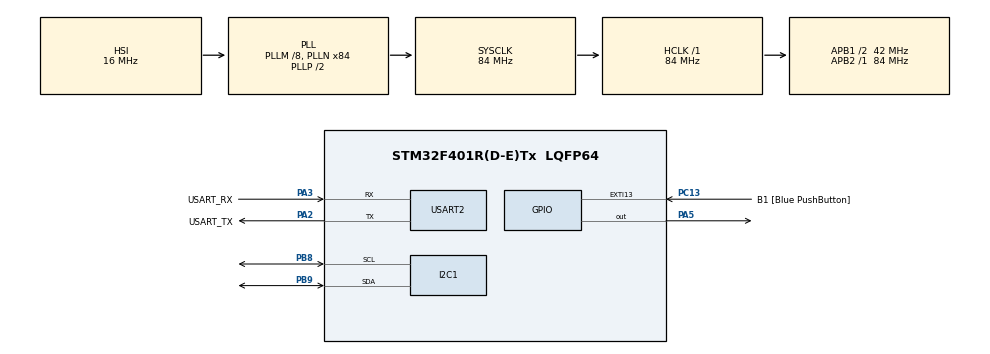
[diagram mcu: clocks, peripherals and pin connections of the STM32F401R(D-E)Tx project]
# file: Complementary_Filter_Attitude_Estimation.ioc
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Mcu.Family=STM32F4
Mcu.Name=STM32F401R(D-E)Tx
Mcu.Package=LQFP64
NVIC.PriorityGroup=NVIC_PRIORITYGROUP_0
PA13.GPIO_Label=TMS
PA13.Mode=Serial_Wire
PA13.Signal=SYS_JTMS-SWDIO
PA14.GPIO_Label=TCK
PA14.Mode=Serial_Wire
PA14.Signal=SYS_JTCK-SWCLK
PA2.GPIO_Label=USART_TX
PA2.GPIO_Mode=GPIO_MODE_AF_PP
PA2.GPIO_PuPd=GPIO_NOPULL
PA2.GPIO_Speed=GPIO_SPEED_FREQ_LOW
PA2.Mode=Asynchronous
PA2.Signal=USART2_TX
PA3.GPIO_Label=USART_RX
PA3.GPIO_Mode=GPIO_MODE_AF_PP
PA3.GPIO_PuPd=GPIO_NOPULL
PA3.GPIO_Speed=GPIO_SPEED_FREQ_LOW
PA3.Mode=Asynchronous
PA3.Signal=USART2_RX
PA5.Signal=GPIO_Output
PB3.GPIO_Label=SWO
PB3.Signal=SYS_JTDO-SWO
PB8.Mode=I2C
PB8.Signal=I2C1_SCL
PB9.Mode=I2C
PB9.Signal=I2C1_SDA
PC13-ANTI_TAMP.GPIO_Label=B1 [Blue PushButton]
PC13-ANTI_TAMP.GPIO_ModeDefaultEXTI=GPIO_MODE_IT_FALLING
PC13-ANTI_TAMP.GPIO_PuPd=GPIO_NOPULL
PC13-ANTI_TAMP.Signal=GPXTI13
PC14-OSC32_IN.Mode=LSE-External-Oscillator
PC14-OSC32_IN.Signal=RCC_OSC32_IN
PC15-OSC32_OUT.Mode=LSE-External-Oscillator
PC15-OSC32_OUT.Signal=RCC_OSC32_OUT
PH0\ -\ OSC_IN.Mode=HSE-External-Clock-Source
PH0\ -\ OSC_IN.Signal=RCC_OSC_IN
PH1\ -\ OSC_OUT.Mode=HSE-External-Clock-Source
PH1\ -\ OSC_OUT.Signal=RCC_OSC_OUT
ProjectManager.HeapSize=0x200
ProjectManager.StackSize=0x400
ProjectManager.TargetToolchain=STM32CubeIDE
RCC.48MHZClocksFreq_Value=24000000
RCC.AHBFreq_Value=84000000
RCC.APB1CLKDivider=RCC_HCLK_DIV2
RCC.APB1Freq_Value=42000000
RCC.APB1TimFreq_Value=84000000
RCC.APB2Freq_Value=84000000
RCC.APB2TimFreq_Value=84000000
RCC.CortexFreq_Value=84000000
RCC.HCLKFreq_Value=84000000
RCC.HSE_VALUE=8000000
RCC.HSI_VALUE=16000000
RCC.PLLM=8
RCC.PLLN=84
RCC.PLLQ=7
RCC.SYSCLKFreq_VALUE=84000000
RCC.SYSCLKSource=RCC_SYSCLKSOURCE_PLLCLK
RCC.VCOOutputFreq_Value=168000000
TIM3.Channel-Output\ Compare1\ No\ Output=TIM_CHANNEL_1
TIM3.Period=1000-1
TIM3.Prescaler=840-1
USART2.VirtualMode=VM_ASYNC
VP_TIM3_VS_no_output1.Mode=Output Compare1 No Output
board=NUCLEO-F401RE

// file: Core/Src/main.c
/* USER CODE BEGIN Header */
/**
  ******************************************************************************
  * @file           : main.c
  * @brief          : Main program body
  ******************************************************************************
  * @attention
  *
  * Copyright (c) 2024 STMicroelectronics.
  * All rights reserved.
  *
  * This software is licensed under terms that can be found in the LICENSE file
  * in the root directory of this software component.
  * If no LICENSE file comes with this software, it is provided AS-IS.
  *
  ******************************************************************************
  */
/* USER CODE END Header */
#include "main.h"

/* USER CODE BEGIN Includes */
#include "RCFilter.h"
#include "mpu6050.h"
#include <string.h>
#include <stdio.h>
#include <math.h>
/* USER CODE END Includes */

/* USER CODE BEGIN PD */
#define SAMPLE_TIME 100
#define RAD_TO_DEG 57.2957795131f
#define ACCEL_G 9.81
/* USER CODE END PD */

I2C_HandleTypeDef hi2c1;

TIM_HandleTypeDef htim3;

UART_HandleTypeDef huart2;

/* USER CODE BEGIN PV */
RCFilter lpFilter;
static int16_t accel_val_xOff = 0;
static int16_t accel_val_yOff = 0;
static int16_t accel_val_zOff = 0;
static int16_t gyro_val_xOff = 0;
static int16_t gyro_val_yOff = 0;
static int16_t gyro_val_zOff = 0;

/* USER CODE END PV */

void SystemClock_Config(void);
static void MX_GPIO_Init(void);
static void MX_USART2_UART_Init(void);
static void MX_TIM3_Init(void);
static void MX_I2C1_Init(void);

int main(void)
{

  /* MCU Configuration--------------------------------------------------------*/

  /* Reset of all peripherals, Initializes the Flash interface and the Systick. */
  HAL_Init();

  /* USER CODE BEGIN Init */
  //RCFilter_Init(&lpFilter, 2.0f, 0.01f);

  /* USER CODE END Init */

  /* Configure the system clock */
  SystemClock_Config();

  /* Initialize all configured peripherals */
  MX_GPIO_Init();
  MX_USART2_UART_Init();
  MX_TIM3_Init();
  MX_I2C1_Init();
  /* USER CODE BEGIN 2 */
  char mlx_buff[100];
  uint8_t mpu_buff[50];
  uint8_t status_buff[50];
  char logBuf[128];
  HAL_StatusTypeDef ret;
  int16_t accel_val_x;
  int16_t accel_val_y;
  int16_t accel_val_z;
  int16_t gyro_val_x;
  int16_t gyro_val_y;
  int16_t gyro_val_z;

  float accel_val_lpf_x_old = 0;
  float accel_val_lpf_y_old = 0;
  float accel_val_lpf_z_old = 0;
  float alpha = 0.0625;
  float rollangle_deg = 0.0f;
  float pitchangle_deg = 0.0f;

  uint32_t timerSampling = 0;
  uint8_t pwr_data = 0x00;

  //Make sure Device is awake
  ret = HAL_I2C_Mem_Write(&hi2c1, MPU6050_ADDR, 0x6B, 1, &pwr_data, 1, 100);

	if(ret == HAL_OK){

		  strcpy((char*)status_buff, "Device is awake\r\n");
	  }
	  else{
		  strcpy((char*)status_buff, "Problem setting the sleep bit\r\n");
	  }

	HAL_UART_Transmit(&huart2, status_buff, strlen(status_buff), HAL_MAX_DELAY);
	HAL_Delay(500);

	//Make sure acceleration is configured to the first one as per datasheet Pg.15(AFS_SEL = 0 & full scale range of +- 2g)
	uint8_t accel_init_val = 0x00;
	ret = HAL_I2C_Mem_Write(&hi2c1, MPU6050_ADDR, ACCEL_CONFIG, 1, &accel_init_val, 1, 100);

	if(ret == HAL_OK){

		  strcpy((char*)status_buff, "Acceleration is configured\r\n");
	  }
	  else{
		  strcpy((char*)status_buff, "Problem configuring the acceleration\r\n");
	  }

	HAL_UART_Transmit(&huart2, status_buff, strlen((status_buff)), HAL_MAX_DELAY);
	HAL_Delay(500);

	//Make sure gyro is configured to the first one as per datasheet Pg.14 (FS_SEL = 0 & full scale range of +- 250 deg/s)
	uint8_t gyro_init_val = 0x00;
	ret = HAL_I2C_Mem_Write(&hi2c1, MPU6050_ADDR, GYRO_CONFIG, 1, &gyro_init_val, 1, 100);

	if(ret == HAL_OK){
		strcpy((char*)status_buff, "Gyroscope is configured\r\n");
	  }
   else{
	  strcpy((char*)status_buff, "Problem configuring the gyroscope\r\n");
   }

	HAL_UART_Transmit(&huart2, status_buff, strlen((status_buff)), HAL_MAX_DELAY);
	HAL_Delay(500);

  //calibrate();
  /* USER CODE END 2 */

  /* Infinite loop */
  /* USER CODE BEGIN WHILE */

  while (1)
  {

	//sample at 10ms
	if((HAL_GetTick() - timerSampling) >= SAMPLE_TIME){

		//read all accelerometer values + temperature reading + gyro values
		ret = HAL_I2C_Mem_Read(&hi2c1, MPU6050_ADDR, ACCEL_XOUT_H, I2C_MEMADD_SIZE_8BIT , mpu_buff, 14, 10000);

		if(ret != HAL_OK){
			strcpy((char*)status_buff, "Error Reading Accelerometer data\r\n");
			HAL_UART_Transmit(&huart2, status_buff, strlen((status_buff)), HAL_MAX_DELAY);

		}
		else{
			;
		}

		//combine the two bytes for accel x, y and z
		accel_val_x = (mpu_buff[0] << 8 | mpu_buff[1]);
		accel_val_y = (mpu_buff[2] << 8 | mpu_buff[3]);
		accel_val_z = (mpu_buff[4] << 8 | mpu_buff[5]);

		//combine the two bytes for angular rate along x, y and z
		gyro_val_x = (mpu_buff[8] << 8 | mpu_buff[9]);
		gyro_val_y = (mpu_buff[10] << 8 | mpu_buff[11]);
		gyro_val_z = (mpu_buff[12] << 8 | mpu_buff[13]);

		//convert raw acceleration values to g values
		float accel_val_flt_x = accel_val_x/16384.0; //why 0.000061 ?
		float accel_val_flt_y = accel_val_y/16384.0;
		float accel_val_flt_z = accel_val_z/16384.0;

		//Gyro values,no need to filter
		float gyro_val_flt_x = gyro_val_x/131.0;
		float gyro_val_flt_y = gyro_val_y/131.0;
		float gyro_val_flt_z = gyro_val_z/131.0;

		//First Order IIR FIlter : https://vanhunteradams.com/Pico/ReactionWheel/Digital_Lowpass_Filters.html
		//RC = delta_t*(2^N), here N = 4, so RC = (10ms*16) = 160ms for the filtered output to reach 63% of its new value
		float accel_val_lpf_x_new = accel_val_lpf_x_old + (alpha*(accel_val_flt_x - accel_val_lpf_x_old));
		float accel_val_lpf_y_new = accel_val_lpf_y_old + (alpha*(accel_val_flt_y - accel_val_lpf_y_old));
		float accel_val_lpf_z_new = accel_val_lpf_z_old + (alpha*(accel_val_flt_z - accel_val_lpf_z_old));

		//Compute roll and pitch using filtered accelerometer data
		rollangle_deg = atanf(accel_val_lpf_y_new/ accel_val_lpf_z_new)*RAD_TO_DEG;
		pitchangle_deg = asinf(accel_val_lpf_x_new / ACCEL_G)*RAD_TO_DEG;

		accel_val_lpf_x_old = accel_val_lpf_x_new;
		accel_val_lpf_y_old = accel_val_lpf_y_new;
		accel_val_lpf_z_old = accel_val_lpf_z_new;

		//sprintf(logBuf, "%.2f, %.2f, %.2f\r\n", accel_val_flt_x, accel_val_flt_y, accel_val_flt_z);
		sprintf(logBuf, "%d, %d\r\n", accel_val_z, gyro_val_z);
		//sprintf(logBuf, "%.2f, %.2f, %.2f\r\n", accel_val_lpf_x_new, accel_val_lpf_y_new, accel_val_lpf_z_new);
		HAL_UART_Transmit(&huart2, logBuf, strlen((logBuf)), HAL_MAX_DELAY);

		timerSampling = HAL_GetTick();

	}

    /* USER CODE END WHILE */

  }
}

void SystemClock_Config(void)
{
  RCC_OscInitTypeDef RCC_OscInitStruct = {0};
  RCC_ClkInitTypeDef RCC_ClkInitStruct = {0};

  /** Configure the main internal regulator output voltage
  */
  __HAL_RCC_PWR_CLK_ENABLE();
  __HAL_PWR_VOLTAGESCALING_CONFIG(PWR_REGULATOR_VOLTAGE_SCALE2);

  /** Initializes the RCC Oscillators according to the specified parameters
  * in the RCC_OscInitTypeDef structure.
  */
  RCC_OscInitStruct.OscillatorType = RCC_OSCILLATORTYPE_HSI;
  RCC_OscInitStruct.HSIState = RCC_HSI_ON;
  RCC_OscInitStruct.HSICalibrationValue = RCC_HSICALIBRATION_DEFAULT;
  RCC_OscInitStruct.PLL.PLLState = RCC_PLL_ON;
  RCC_OscInitStruct.PLL.PLLSource = RCC_PLLSOURCE_HSI;
  RCC_OscInitStruct.PLL.PLLM = 8;
  RCC_OscInitStruct.PLL.PLLN = 84;
  RCC_OscInitStruct.PLL.PLLP = RCC_PLLP_DIV2;
  RCC_OscInitStruct.PLL.PLLQ = 7;
  if (HAL_RCC_OscConfig(&RCC_OscInitStruct) != HAL_OK)
  {
    Error_Handler();
  }

  /** Initializes the CPU, AHB and APB buses clocks
  */
  RCC_ClkInitStruct.ClockType = RCC_CLOCKTYPE_HCLK|RCC_CLOCKTYPE_SYSCLK
                              |RCC_CLOCKTYPE_PCLK1|RCC_CLOCKTYPE_PCLK2;
  RCC_ClkInitStruct.SYSCLKSource = RCC_SYSCLKSOURCE_PLLCLK;
  RCC_ClkInitStruct.AHBCLKDivider = RCC_SYSCLK_DIV1;
  RCC_ClkInitStruct.APB1CLKDivider = RCC_HCLK_DIV2;
  RCC_ClkInitStruct.APB2CLKDivider = RCC_HCLK_DIV1;

  if (HAL_RCC_ClockConfig(&RCC_ClkInitStruct, FLASH_LATENCY_2) != HAL_OK)
  {
    Error_Handler();
  }
}

static void MX_I2C1_Init(void)
{

  hi2c1.Instance = I2C1;
  hi2c1.Init.ClockSpeed = 100000;
  hi2c1.Init.DutyCycle = I2C_DUTYCYCLE_2;
  hi2c1.Init.OwnAddress1 = 0;
  hi2c1.Init.AddressingMode = I2C_ADDRESSINGMODE_7BIT;
  hi2c1.Init.DualAddressMode = I2C_DUALADDRESS_DISABLE;
  hi2c1.Init.OwnAddress2 = 0;
  hi2c1.Init.GeneralCallMode = I2C_GENERALCALL_DISABLE;
  hi2c1.Init.NoStretchMode = I2C_NOSTRETCH_DISABLE;
  if (HAL_I2C_Init(&hi2c1) != HAL_OK)
  {
    Error_Handler();
  }

}

static void MX_TIM3_Init(void)
{

  TIM_MasterConfigTypeDef sMasterConfig = {0};
  TIM_OC_InitTypeDef sConfigOC = {0};

  htim3.Instance = TIM3;
  htim3.Init.Prescaler = 840-1;
  htim3.Init.CounterMode = TIM_COUNTERMODE_UP;
  htim3.Init.Period = 1000-1;
  htim3.Init.ClockDivision = TIM_CLOCKDIVISION_DIV1;
  htim3.Init.AutoReloadPreload = TIM_AUTORELOAD_PRELOAD_DISABLE;
  if (HAL_TIM_OC_Init(&htim3) != HAL_OK)
  {
    Error_Handler();
  }
  sMasterConfig.MasterOutputTrigger = TIM_TRGO_RESET;
  sMasterConfig.MasterSlaveMode = TIM_MASTERSLAVEMODE_DISABLE;
  if (HAL_TIMEx_MasterConfigSynchronization(&htim3, &sMasterConfig) != HAL_OK)
  {
    Error_Handler();
  }
  sConfigOC.OCMode = TIM_OCMODE_TIMING;
  sConfigOC.Pulse = 0;
  sConfigOC.OCPolarity = TIM_OCPOLARITY_HIGH;
  sConfigOC.OCFastMode = TIM_OCFAST_DISABLE;
  if (HAL_TIM_OC_ConfigChannel(&htim3, &sConfigOC, TIM_CHANNEL_1) != HAL_OK)
  {
    Error_Handler();
  }

}

static void MX_USART2_UART_Init(void)
{

  huart2.Instance = USART2;
  huart2.Init.BaudRate = 115200;
  huart2.Init.WordLength = UART_WORDLENGTH_8B;
  huart2.Init.StopBits = UART_STOPBITS_1;
  huart2.Init.Parity = UART_PARITY_NONE;
  huart2.Init.Mode = UART_MODE_TX_RX;
  huart2.Init.HwFlowCtl = UART_HWCONTROL_NONE;
  huart2.Init.OverSampling = UART_OVERSAMPLING_16;
  if (HAL_UART_Init(&huart2) != HAL_OK)
  {
    Error_Handler();
  }

}

static void MX_GPIO_Init(void)
{
  GPIO_InitTypeDef GPIO_InitStruct = {0};

  /* GPIO Ports Clock Enable */
  __HAL_RCC_GPIOC_CLK_ENABLE();
  __HAL_RCC_GPIOH_CLK_ENABLE();
  __HAL_RCC_GPIOA_CLK_ENABLE();
  __HAL_RCC_GPIOB_CLK_ENABLE();

  /*Configure GPIO pin Output Level */
  HAL_GPIO_WritePin(GPIOA, GPIO_PIN_5, GPIO_PIN_RESET);

  /*Configure GPIO pin : B1_Pin */
  GPIO_InitStruct.Pin = B1_Pin;
  GPIO_InitStruct.Mode = GPIO_MODE_IT_FALLING;
  GPIO_InitStruct.Pull = GPIO_NOPULL;
  HAL_GPIO_Init(B1_GPIO_Port, &GPIO_InitStruct);

  /*Configure GPIO pin : PA5 */
  GPIO_InitStruct.Pin = GPIO_PIN_5;
  GPIO_InitStruct.Mode = GPIO_MODE_OUTPUT_PP;
  GPIO_InitStruct.Pull = GPIO_NOPULL;
  GPIO_InitStruct.Speed = GPIO_SPEED_FREQ_LOW;
  HAL_GPIO_Init(GPIOA, &GPIO_InitStruct);

}

/* USER CODE BEGIN 4 */

/*void us_delay(uint32_t delay){
	__HAL_TIM_SET_COUNTER(&htim1, 0);
	while(__HAL_TIM_GET_COUNTER(&htim1) < delay){

	}
}*/

//callback to handle Proportional Controller
void HAL_TIM_PeriodElapsedCallback(TIM_HandleTypeDef *htim){

}

//Callback to handler data ready
void HAL_GPIO_EXTI_Callback(uint16_t GPIO_Pin){

}

void calibrate(){

	int num = 500;
	int accel_xSum = 0;
	int accel_ySum = 0;
	int accel_zSum = 0;
	int gyro_xSum = 0;
	int gyro_ySum = 0;
	int gyro_zSum = 0;
	HAL_StatusTypeDef ret;
	uint8_t buff[50];
	uint8_t status_buff[50];

	for(int i = 0; i < num; i++){
		ret = HAL_I2C_Mem_Read(&hi2c1, MPU6050_ADDR, ACCEL_XOUT_H, I2C_MEMADD_SIZE_8BIT , buff, 14, 10000);

		if(ret != HAL_OK){
			strcpy((char*)status_buff, "Error Reading Accelerometer and gyroscope data\r\n");
			HAL_UART_Transmit(&huart2, status_buff, strlen((status_buff)), HAL_MAX_DELAY);

		}
		else{
			return;
		}

		accel_xSum += (buff[0] << 8 | buff[1]);
		accel_ySum += (buff[2] << 8 | buff[3]);
		accel_zSum += (buff[4] << 8 | buff[5]);

		gyro_xSum += (buff[8] << 8 | buff[9]);
		gyro_ySum += (buff[10] << 8 | buff[11]);
		gyro_zSum += (buff[12] << 8 | buff[13]);

	}

	accel_val_xOff = accel_xSum/num;
	accel_val_yOff = accel_ySum/num;
	accel_val_zOff = accel_zSum/num;
	gyro_val_xOff = gyro_xSum/num;
	gyro_val_yOff = gyro_ySum/num;
	gyro_val_zOff = gyro_zSum/num;

}

/* USER CODE END 4 */

void Error_Handler(void)
{
  __disable_irq();
  while (1)
  {
  }
}
